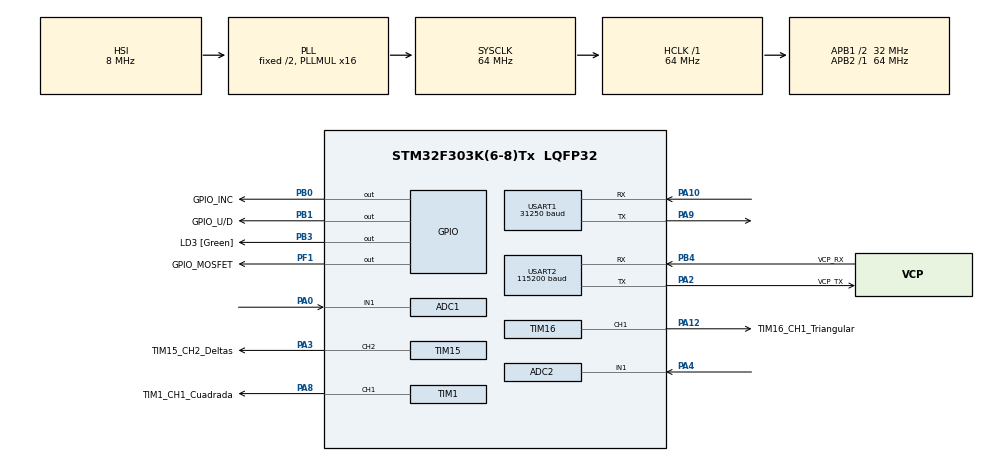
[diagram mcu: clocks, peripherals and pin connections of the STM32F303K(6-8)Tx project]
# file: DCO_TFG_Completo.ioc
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ADC1.Channel-0\#ChannelRegularConversion=ADC_CHANNEL_1
ADC1.NbrOfConversionFlag=1
ADC1.Offset-0\#ChannelRegularConversion=0
ADC1.OffsetNumber-0\#ChannelRegularConversion=ADC_OFFSET_NONE
ADC1.Rank-0\#ChannelRegularConversion=1
ADC1.SamplingTime-0\#ChannelRegularConversion=ADC_SAMPLETIME_1CYCLE_5
ADC1.SubFamily=STM32F303x8
ADC1.master=1
ADC2.Channel-0\#ChannelRegularConversion=ADC_CHANNEL_1
ADC2.NbrOfConversionFlag=1
ADC2.Offset-0\#ChannelRegularConversion=0
ADC2.OffsetNumber-0\#ChannelRegularConversion=ADC_OFFSET_NONE
ADC2.Rank-0\#ChannelRegularConversion=1
ADC2.SamplingTime-0\#ChannelRegularConversion=ADC_SAMPLETIME_1CYCLE_5
ADC2.SubFamily=STM32F303x8
Mcu.Family=STM32F3
Mcu.Name=STM32F303K(6-8)Tx
Mcu.Package=LQFP32
NVIC.PriorityGroup=NVIC_PRIORITYGROUP_4
NVIC.TIM6_DAC1_IRQn=true\:0\:0\:false\:false\:true\:true
NVIC.TIM7_DAC2_IRQn=true\:0\:0\:false\:false\:true\:true
NVIC.USART1_IRQn=true\:0\:0\:false\:false\:true\:true
NVIC.USART2_IRQn=true\:0\:0\:false\:false\:true\:true
PA0.Mode=IN1-Single-Ended
PA0.Signal=ADC1_IN1
PA10.Mode=Asynchronous
PA10.Signal=USART1_RX
PA12.GPIO_Label=TIM16_CH1_Triangular
PA12.Signal=S_TIM16_CH1
PA13.GPIO_Label=SWDIO
PA13.Mode=Serial_Wire
PA13.Signal=SYS_JTMS-SWDIO
PA14.GPIO_Label=SWCLK
PA14.Mode=Serial_Wire
PA14.Signal=SYS_JTCK-SWCLK
PA2.GPIO_Label=VCP_TX
PA2.Mode=Asynchronous
PA2.Signal=USART2_TX
PA3.GPIO_Label=TIM15_CH2_Deltas
PA3.Signal=S_TIM15_CH2
PA4.Mode=IN1-Single-Ended
PA4.Signal=ADC2_IN1
PA8.GPIO_Label=TIM1_CH1_Cuadrada
PA8.Signal=S_TIM1_CH1
PA9.Mode=Asynchronous
PA9.Signal=USART1_TX
PB0.GPIO_Label=GPIO_INC
PB0.PinState=GPIO_PIN_SET
PB0.Signal=GPIO_Output
PB1.GPIO_Label=GPIO_U/D
PB1.Signal=GPIO_Output
PB3.GPIO_Label=LD3 [Green]
PB3.Signal=GPIO_Output
PB4.GPIO_Label=VCP_RX
PB4.Mode=Asynchronous
PB4.Signal=USART2_RX
PF0\ /\ OSC_IN.GPIO_Label=MCO
PF0\ /\ OSC_IN.Mode=HSE-External-Clock-Source
PF0\ /\ OSC_IN.Signal=RCC_OSC_IN
PF1\ /\ OSC_OUT.GPIO_Label=GPIO_MOSFET
PF1\ /\ OSC_OUT.PinState=GPIO_PIN_SET
PF1\ /\ OSC_OUT.Signal=GPIO_Output
ProjectManager.HeapSize=0x200
ProjectManager.StackSize=0x400
ProjectManager.TargetToolchain=TrueSTUDIO
RCC.AHBFreq_Value=64000000
RCC.APB1CLKDivider=RCC_HCLK_DIV2
RCC.APB1Freq_Value=32000000
RCC.APB1TimFreq_Value=64000000
RCC.APB2Freq_Value=64000000
RCC.APB2TimFreq_Value=64000000
RCC.CortexFreq_Value=64000000
RCC.HCLKFreq_Value=64000000
RCC.HSE_VALUE=8000000
RCC.HSI_VALUE=8000000
RCC.PLLMUL=RCC_PLL_MUL16
RCC.SYSCLKFreq_VALUE=64000000
RCC.SYSCLKSourceVirtual=RCC_SYSCLKSOURCE_PLLCLK
SH.S_TIM15_CH2.0=TIM15_CH2,PWM Generation2 CH2
SH.S_TIM16_CH1.0=TIM16_CH1,PWM Generation1 CH1
SH.S_TIM1_CH1.0=TIM1_CH1,PWM Generation1 CH1
TIM1.Channel-PWM\ Generation1\ CH1=TIM_CHANNEL_1
TIM1.Period=7272
TIM1.Prescaler=319
TIM1.Pulse-PWM\ Generation1\ CH1=4000
TIM15.Channel-PWM\ Generation2\ CH2=TIM_CHANNEL_2
TIM15.Period=7272
TIM15.Prescaler=319
TIM15.Pulse-PWM\ Generation2\ CH2=4000
TIM16.Channel=TIM_CHANNEL_1
TIM16.Period=7272
TIM16.Prescaler=319
TIM16.Pulse=4000
TIM6.Period=9
TIM6.Prescaler=31
TIM7.Period=49
TIM7.Prescaler=31999
USART1.BaudRate=31250
USART1.VirtualMode-Asynchronous=VM_ASYNC
USART2.BaudRate=115200
USART2.VirtualMode-Asynchronous=VM_ASYNC
VP_TIM16_VS_ClockSourceINT.Mode=Enable_Timer
VP_TIM6_VS_ClockSourceINT.Mode=Enable_Timer
VP_TIM7_VS_ClockSourceINT.Mode=Enable_Timer
board=NUCLEO-F303K8

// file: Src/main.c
/* USER CODE BEGIN Header */
/**
  ******************************************************************************
  * @file           : main.c
  * @brief          : Main program body
  ******************************************************************************
  ** This notice applies to any and all portions of this file
  * that are not between comment pairs USER CODE BEGIN and
  * USER CODE END. Other portions of this file, whether
  * inserted by the user or by software development tools
  * are owned by their respective copyright owners.
  *
  * COPYRIGHT(c) 2019 STMicroelectronics
  *
  * Redistribution and use in source and binary forms, with or without modification,
  * are permitted provided that the following conditions are met:
  *   1. Redistributions of source code must retain the above copyright notice,
  *      this list of conditions and the following disclaimer.
  *   2. Redistributions in binary form must reproduce the above copyright notice,
  *      this list of conditions and the following disclaimer in the documentation
  *      and/or other materials provided with the distribution.
  *   3. Neither the name of STMicroelectronics nor the names of its contributors
  *      may be used to endorse or promote products derived from this software
  *      without specific prior written permission.
  *
  * THIS SOFTWARE IS PROVIDED BY THE COPYRIGHT HOLDERS AND CONTRIBUTORS "AS IS"
  * AND ANY EXPRESS OR IMPLIED WARRANTIES, INCLUDING, BUT NOT LIMITED TO, THE
  * IMPLIED WARRANTIES OF MERCHANTABILITY AND FITNESS FOR A PARTICULAR PURPOSE ARE
  * DISCLAIMED. IN NO EVENT SHALL THE COPYRIGHT HOLDER OR CONTRIBUTORS BE LIABLE
  * FOR ANY DIRECT, INDIRECT, INCIDENTAL, SPECIAL, EXEMPLARY, OR CONSEQUENTIAL
  * DAMAGES (INCLUDING, BUT NOT LIMITED TO, PROCUREMENT OF SUBSTITUTE GOODS OR
  * SERVICES; LOSS OF USE, DATA, OR PROFITS; OR BUSINESS INTERRUPTION) HOWEVER
  * CAUSED AND ON ANY THEORY OF LIABILITY, WHETHER IN CONTRACT, STRICT LIABILITY,
  * OR TORT (INCLUDING NEGLIGENCE OR OTHERWISE) ARISING IN ANY WAY OUT OF THE USE
  * OF THIS SOFTWARE, EVEN IF ADVISED OF THE POSSIBILITY OF SUCH DAMAGE.
  *
  ******************************************************************************
  */
/* USER CODE END Header */

#include "main.h"

/* USER CODE BEGIN Includes */
#include "math.h"
#include "print_UART.h"
/* USER CODE END Includes */

/* USER CODE BEGIN PD */
#define F_CLK 64000000
/* USER CODE END PD */

ADC_HandleTypeDef hadc1;
ADC_HandleTypeDef hadc2;

TIM_HandleTypeDef htim1;
TIM_HandleTypeDef htim6;
TIM_HandleTypeDef htim7;
TIM_HandleTypeDef htim15;
TIM_HandleTypeDef htim16;

UART_HandleTypeDef huart1;
UART_HandleTypeDef huart2;

/* USER CODE BEGIN PV */
static uint16_t timers_notas[89];
static uint8_t resistencias_notas[89];

uint8_t mensaje_MIDI[3];

// Modulacion en DC y freq
uint8_t msg_mod[2];
uint8_t nota_actual = 0;
float intensity_dc = 0;
float intensity_freq = 0;

// Resistencias digitales
uint8_t cuenta = 0;
int steps = 0;
uint8_t done_res = 0;
/* USER CODE END PV */

void SystemClock_Config(void);
static void MX_GPIO_Init(void);
static void MX_USART2_UART_Init(void);
static void MX_ADC1_Init(void);
static void MX_ADC2_Init(void);
static void MX_USART1_UART_Init(void);
static void MX_TIM1_Init(void);
static void MX_TIM15_Init(void);
static void MX_TIM16_Init(void);
static void MX_TIM6_Init(void);
static void MX_TIM7_Init(void);
/* USER CODE BEGIN PFP */
void calculo_notas(void);
void calculo_resistencias(void);
void start_nota(uint8_t nota);
void stop_nota(void);

uint16_t check_ADC(ADC_HandleTypeDef* hadc);

// Resistencias digitales
void init_resistencia();
void resistencia(uint8_t valor);
/* USER CODE END PFP */

int main(void)
{

  /* MCU Configuration--------------------------------------------------------*/

  /* Reset of all peripherals, Initializes the Flash interface and the Systick. */
  HAL_Init();

  /* Configure the system clock */
  SystemClock_Config();

  /* Initialize all configured peripherals */
  MX_GPIO_Init();
  MX_USART2_UART_Init();
  MX_ADC1_Init();
  MX_ADC2_Init();
  MX_USART1_UART_Init();
  MX_TIM1_Init();
  MX_TIM15_Init();
  MX_TIM16_Init();
  MX_TIM6_Init();
  MX_TIM7_Init();
  /* USER CODE BEGIN 2 */
  //HAL_ADCEx_Calibration_Start(&hadc1);
  //HAL_ADCEx_Calibration_Start(&hadc2);

  init_resistencia();

  calculo_notas();
  calculo_resistencias();
  __HAL_UART_ENABLE_IT(&huart1, UART_IT_RXNE);
  __HAL_UART_ENABLE_IT(&huart2, UART_IT_RXNE);

 //	start_nota(30);

  /* USER CODE END 2 */

  /* Infinite loop */
  /* USER CODE BEGIN WHILE */
  while (1)
  {
//	  start_nota(30);
//	  HAL_Delay(2000);
//	  stop_nota();
//	  HAL_Delay(500);
//
//	  start_nota(40);
//	  HAL_Delay(2000);
//	  stop_nota();
//	  HAL_Delay(500);
    /* USER CODE END WHILE */

  }
}

void SystemClock_Config(void)
{
  RCC_OscInitTypeDef RCC_OscInitStruct = {0};
  RCC_ClkInitTypeDef RCC_ClkInitStruct = {0};
  RCC_PeriphCLKInitTypeDef PeriphClkInit = {0};

  /**Initializes the CPU, AHB and APB busses clocks
  */
  RCC_OscInitStruct.OscillatorType = RCC_OSCILLATORTYPE_HSI;
  RCC_OscInitStruct.HSIState = RCC_HSI_ON;
  RCC_OscInitStruct.HSICalibrationValue = RCC_HSICALIBRATION_DEFAULT;
  RCC_OscInitStruct.PLL.PLLState = RCC_PLL_ON;
  RCC_OscInitStruct.PLL.PLLSource = RCC_PLLSOURCE_HSI;
  RCC_OscInitStruct.PLL.PLLMUL = RCC_PLL_MUL16;
  if (HAL_RCC_OscConfig(&RCC_OscInitStruct) != HAL_OK)
  {
    Error_Handler();
  }
  /**Initializes the CPU, AHB and APB busses clocks
  */
  RCC_ClkInitStruct.ClockType = RCC_CLOCKTYPE_HCLK|RCC_CLOCKTYPE_SYSCLK
                              |RCC_CLOCKTYPE_PCLK1|RCC_CLOCKTYPE_PCLK2;
  RCC_ClkInitStruct.SYSCLKSource = RCC_SYSCLKSOURCE_PLLCLK;
  RCC_ClkInitStruct.AHBCLKDivider = RCC_SYSCLK_DIV1;
  RCC_ClkInitStruct.APB1CLKDivider = RCC_HCLK_DIV2;
  RCC_ClkInitStruct.APB2CLKDivider = RCC_HCLK_DIV1;

  if (HAL_RCC_ClockConfig(&RCC_ClkInitStruct, FLASH_LATENCY_2) != HAL_OK)
  {
    Error_Handler();
  }
  PeriphClkInit.PeriphClockSelection = RCC_PERIPHCLK_USART1|RCC_PERIPHCLK_TIM1
                              |RCC_PERIPHCLK_ADC12;
  PeriphClkInit.Usart1ClockSelection = RCC_USART1CLKSOURCE_PCLK1;
  PeriphClkInit.Adc12ClockSelection = RCC_ADC12PLLCLK_DIV1;
  PeriphClkInit.Tim1ClockSelection = RCC_TIM1CLK_HCLK;
  if (HAL_RCCEx_PeriphCLKConfig(&PeriphClkInit) != HAL_OK)
  {
    Error_Handler();
  }
}

static void MX_ADC1_Init(void)
{

  ADC_MultiModeTypeDef multimode = {0};
  ADC_ChannelConfTypeDef sConfig = {0};

  /**Common config
  */
  hadc1.Instance = ADC1;
  hadc1.Init.ClockPrescaler = ADC_CLOCK_ASYNC_DIV1;
  hadc1.Init.Resolution = ADC_RESOLUTION_12B;
  hadc1.Init.ScanConvMode = ADC_SCAN_DISABLE;
  hadc1.Init.ContinuousConvMode = DISABLE;
  hadc1.Init.DiscontinuousConvMode = DISABLE;
  hadc1.Init.ExternalTrigConvEdge = ADC_EXTERNALTRIGCONVEDGE_NONE;
  hadc1.Init.ExternalTrigConv = ADC_SOFTWARE_START;
  hadc1.Init.DataAlign = ADC_DATAALIGN_RIGHT;
  hadc1.Init.NbrOfConversion = 1;
  hadc1.Init.DMAContinuousRequests = DISABLE;
  hadc1.Init.EOCSelection = ADC_EOC_SINGLE_CONV;
  hadc1.Init.LowPowerAutoWait = DISABLE;
  hadc1.Init.Overrun = ADC_OVR_DATA_OVERWRITTEN;
  if (HAL_ADC_Init(&hadc1) != HAL_OK)
  {
    Error_Handler();
  }
  /**Configure the ADC multi-mode
  */
  multimode.Mode = ADC_MODE_INDEPENDENT;
  if (HAL_ADCEx_MultiModeConfigChannel(&hadc1, &multimode) != HAL_OK)
  {
    Error_Handler();
  }
  /**Configure Regular Channel
  */
  sConfig.Channel = ADC_CHANNEL_1;
  sConfig.Rank = ADC_REGULAR_RANK_1;
  sConfig.SingleDiff = ADC_SINGLE_ENDED;
  sConfig.SamplingTime = ADC_SAMPLETIME_1CYCLE_5;
  sConfig.OffsetNumber = ADC_OFFSET_NONE;
  sConfig.Offset = 0;
  if (HAL_ADC_ConfigChannel(&hadc1, &sConfig) != HAL_OK)
  {
    Error_Handler();
  }

}

static void MX_ADC2_Init(void)
{

  ADC_ChannelConfTypeDef sConfig = {0};

  /**Common config
  */
  hadc2.Instance = ADC2;
  hadc2.Init.ClockPrescaler = ADC_CLOCK_ASYNC_DIV1;
  hadc2.Init.Resolution = ADC_RESOLUTION_12B;
  hadc2.Init.ScanConvMode = ADC_SCAN_DISABLE;
  hadc2.Init.ContinuousConvMode = DISABLE;
  hadc2.Init.DiscontinuousConvMode = DISABLE;
  hadc2.Init.ExternalTrigConvEdge = ADC_EXTERNALTRIGCONVEDGE_NONE;
  hadc2.Init.ExternalTrigConv = ADC_SOFTWARE_START;
  hadc2.Init.DataAlign = ADC_DATAALIGN_RIGHT;
  hadc2.Init.NbrOfConversion = 1;
  hadc2.Init.DMAContinuousRequests = DISABLE;
  hadc2.Init.EOCSelection = ADC_EOC_SINGLE_CONV;
  hadc2.Init.LowPowerAutoWait = DISABLE;
  hadc2.Init.Overrun = ADC_OVR_DATA_OVERWRITTEN;
  if (HAL_ADC_Init(&hadc2) != HAL_OK)
  {
    Error_Handler();
  }
  /**Configure Regular Channel
  */
  sConfig.Channel = ADC_CHANNEL_1;
  sConfig.Rank = ADC_REGULAR_RANK_1;
  sConfig.SingleDiff = ADC_SINGLE_ENDED;
  sConfig.SamplingTime = ADC_SAMPLETIME_1CYCLE_5;
  sConfig.OffsetNumber = ADC_OFFSET_NONE;
  sConfig.Offset = 0;
  if (HAL_ADC_ConfigChannel(&hadc2, &sConfig) != HAL_OK)
  {
    Error_Handler();
  }

}

static void MX_TIM1_Init(void)
{

  TIM_MasterConfigTypeDef sMasterConfig = {0};
  TIM_OC_InitTypeDef sConfigOC = {0};
  TIM_BreakDeadTimeConfigTypeDef sBreakDeadTimeConfig = {0};

  htim1.Instance = TIM1;
  htim1.Init.Prescaler = 319;
  htim1.Init.CounterMode = TIM_COUNTERMODE_UP;
  htim1.Init.Period = 7272;
  htim1.Init.ClockDivision = TIM_CLOCKDIVISION_DIV1;
  htim1.Init.RepetitionCounter = 0;
  htim1.Init.AutoReloadPreload = TIM_AUTORELOAD_PRELOAD_DISABLE;
  if (HAL_TIM_PWM_Init(&htim1) != HAL_OK)
  {
    Error_Handler();
  }
  sMasterConfig.MasterOutputTrigger = TIM_TRGO_RESET;
  sMasterConfig.MasterOutputTrigger2 = TIM_TRGO2_RESET;
  sMasterConfig.MasterSlaveMode = TIM_MASTERSLAVEMODE_DISABLE;
  if (HAL_TIMEx_MasterConfigSynchronization(&htim1, &sMasterConfig) != HAL_OK)
  {
    Error_Handler();
  }
  sConfigOC.OCMode = TIM_OCMODE_PWM1;
  sConfigOC.Pulse = 4000;
  sConfigOC.OCPolarity = TIM_OCPOLARITY_HIGH;
  sConfigOC.OCNPolarity = TIM_OCNPOLARITY_HIGH;
  sConfigOC.OCFastMode = TIM_OCFAST_DISABLE;
  sConfigOC.OCIdleState = TIM_OCIDLESTATE_RESET;
  sConfigOC.OCNIdleState = TIM_OCNIDLESTATE_RESET;
  if (HAL_TIM_PWM_ConfigChannel(&htim1, &sConfigOC, TIM_CHANNEL_1) != HAL_OK)
  {
    Error_Handler();
  }
  sBreakDeadTimeConfig.OffStateRunMode = TIM_OSSR_DISABLE;
  sBreakDeadTimeConfig.OffStateIDLEMode = TIM_OSSI_DISABLE;
  sBreakDeadTimeConfig.LockLevel = TIM_LOCKLEVEL_OFF;
  sBreakDeadTimeConfig.DeadTime = 0;
  sBreakDeadTimeConfig.BreakState = TIM_BREAK_DISABLE;
  sBreakDeadTimeConfig.BreakPolarity = TIM_BREAKPOLARITY_HIGH;
  sBreakDeadTimeConfig.BreakFilter = 0;
  sBreakDeadTimeConfig.Break2State = TIM_BREAK2_DISABLE;
  sBreakDeadTimeConfig.Break2Polarity = TIM_BREAK2POLARITY_HIGH;
  sBreakDeadTimeConfig.Break2Filter = 0;
  sBreakDeadTimeConfig.AutomaticOutput = TIM_AUTOMATICOUTPUT_DISABLE;
  if (HAL_TIMEx_ConfigBreakDeadTime(&htim1, &sBreakDeadTimeConfig) != HAL_OK)
  {
    Error_Handler();
  }
  HAL_TIM_MspPostInit(&htim1);

}

static void MX_TIM6_Init(void)
{

  TIM_MasterConfigTypeDef sMasterConfig = {0};

  htim6.Instance = TIM6;
  htim6.Init.Prescaler = 31;
  htim6.Init.CounterMode = TIM_COUNTERMODE_UP;
  htim6.Init.Period = 9;
  htim6.Init.AutoReloadPreload = TIM_AUTORELOAD_PRELOAD_DISABLE;
  if (HAL_TIM_Base_Init(&htim6) != HAL_OK)
  {
    Error_Handler();
  }
  sMasterConfig.MasterOutputTrigger = TIM_TRGO_RESET;
  sMasterConfig.MasterSlaveMode = TIM_MASTERSLAVEMODE_DISABLE;
  if (HAL_TIMEx_MasterConfigSynchronization(&htim6, &sMasterConfig) != HAL_OK)
  {
    Error_Handler();
  }

}

static void MX_TIM7_Init(void)
{

  TIM_MasterConfigTypeDef sMasterConfig = {0};

  htim7.Instance = TIM7;
  htim7.Init.Prescaler = 31999;
  htim7.Init.CounterMode = TIM_COUNTERMODE_UP;
  htim7.Init.Period = 49;
  htim7.Init.AutoReloadPreload = TIM_AUTORELOAD_PRELOAD_DISABLE;
  if (HAL_TIM_Base_Init(&htim7) != HAL_OK)
  {
    Error_Handler();
  }
  sMasterConfig.MasterOutputTrigger = TIM_TRGO_RESET;
  sMasterConfig.MasterSlaveMode = TIM_MASTERSLAVEMODE_DISABLE;
  if (HAL_TIMEx_MasterConfigSynchronization(&htim7, &sMasterConfig) != HAL_OK)
  {
    Error_Handler();
  }

}

static void MX_TIM15_Init(void)
{

  TIM_MasterConfigTypeDef sMasterConfig = {0};
  TIM_OC_InitTypeDef sConfigOC = {0};
  TIM_BreakDeadTimeConfigTypeDef sBreakDeadTimeConfig = {0};

  htim15.Instance = TIM15;
  htim15.Init.Prescaler = 319;
  htim15.Init.CounterMode = TIM_COUNTERMODE_UP;
  htim15.Init.Period = 7272;
  htim15.Init.ClockDivision = TIM_CLOCKDIVISION_DIV1;
  htim15.Init.RepetitionCounter = 0;
  htim15.Init.AutoReloadPreload = TIM_AUTORELOAD_PRELOAD_DISABLE;
  if (HAL_TIM_PWM_Init(&htim15) != HAL_OK)
  {
    Error_Handler();
  }
  sMasterConfig.MasterOutputTrigger = TIM_TRGO_RESET;
  sMasterConfig.MasterSlaveMode = TIM_MASTERSLAVEMODE_DISABLE;
  if (HAL_TIMEx_MasterConfigSynchronization(&htim15, &sMasterConfig) != HAL_OK)
  {
    Error_Handler();
  }
  sConfigOC.OCMode = TIM_OCMODE_PWM1;
  sConfigOC.Pulse = 4000;
  sConfigOC.OCPolarity = TIM_OCPOLARITY_HIGH;
  sConfigOC.OCNPolarity = TIM_OCNPOLARITY_HIGH;
  sConfigOC.OCFastMode = TIM_OCFAST_DISABLE;
  sConfigOC.OCIdleState = TIM_OCIDLESTATE_RESET;
  sConfigOC.OCNIdleState = TIM_OCNIDLESTATE_RESET;
  if (HAL_TIM_PWM_ConfigChannel(&htim15, &sConfigOC, TIM_CHANNEL_2) != HAL_OK)
  {
    Error_Handler();
  }
  sBreakDeadTimeConfig.OffStateRunMode = TIM_OSSR_DISABLE;
  sBreakDeadTimeConfig.OffStateIDLEMode = TIM_OSSI_DISABLE;
  sBreakDeadTimeConfig.LockLevel = TIM_LOCKLEVEL_OFF;
  sBreakDeadTimeConfig.DeadTime = 0;
  sBreakDeadTimeConfig.BreakState = TIM_BREAK_DISABLE;
  sBreakDeadTimeConfig.BreakPolarity = TIM_BREAKPOLARITY_HIGH;
  sBreakDeadTimeConfig.BreakFilter = 0;
  sBreakDeadTimeConfig.AutomaticOutput = TIM_AUTOMATICOUTPUT_DISABLE;
  if (HAL_TIMEx_ConfigBreakDeadTime(&htim15, &sBreakDeadTimeConfig) != HAL_OK)
  {
    Error_Handler();
  }
  HAL_TIM_MspPostInit(&htim15);

}

static void MX_TIM16_Init(void)
{

  TIM_OC_InitTypeDef sConfigOC = {0};
  TIM_BreakDeadTimeConfigTypeDef sBreakDeadTimeConfig = {0};

  htim16.Instance = TIM16;
  htim16.Init.Prescaler = 319;
  htim16.Init.CounterMode = TIM_COUNTERMODE_UP;
  htim16.Init.Period = 7272;
  htim16.Init.ClockDivision = TIM_CLOCKDIVISION_DIV1;
  htim16.Init.RepetitionCounter = 0;
  htim16.Init.AutoReloadPreload = TIM_AUTORELOAD_PRELOAD_DISABLE;
  if (HAL_TIM_Base_Init(&htim16) != HAL_OK)
  {
    Error_Handler();
  }
  if (HAL_TIM_PWM_Init(&htim16) != HAL_OK)
  {
    Error_Handler();
  }
  sConfigOC.OCMode = TIM_OCMODE_PWM1;
  sConfigOC.Pulse = 4000;
  sConfigOC.OCPolarity = TIM_OCPOLARITY_HIGH;
  sConfigOC.OCNPolarity = TIM_OCNPOLARITY_HIGH;
  sConfigOC.OCFastMode = TIM_OCFAST_DISABLE;
  sConfigOC.OCIdleState = TIM_OCIDLESTATE_RESET;
  sConfigOC.OCNIdleState = TIM_OCNIDLESTATE_RESET;
  if (HAL_TIM_PWM_ConfigChannel(&htim16, &sConfigOC, TIM_CHANNEL_1) != HAL_OK)
  {
    Error_Handler();
  }
  sBreakDeadTimeConfig.OffStateRunMode = TIM_OSSR_DISABLE;
  sBreakDeadTimeConfig.OffStateIDLEMode = TIM_OSSI_DISABLE;
  sBreakDeadTimeConfig.LockLevel = TIM_LOCKLEVEL_OFF;
  sBreakDeadTimeConfig.DeadTime = 0;
  sBreakDeadTimeConfig.BreakState = TIM_BREAK_DISABLE;
  sBreakDeadTimeConfig.BreakPolarity = TIM_BREAKPOLARITY_HIGH;
  sBreakDeadTimeConfig.BreakFilter = 0;
  sBreakDeadTimeConfig.AutomaticOutput = TIM_AUTOMATICOUTPUT_DISABLE;
  if (HAL_TIMEx_ConfigBreakDeadTime(&htim16, &sBreakDeadTimeConfig) != HAL_OK)
  {
    Error_Handler();
  }
  HAL_TIM_MspPostInit(&htim16);

}

static void MX_USART1_UART_Init(void)
{

  huart1.Instance = USART1;
  huart1.Init.BaudRate = 31250;
  huart1.Init.WordLength = UART_WORDLENGTH_8B;
  huart1.Init.StopBits = UART_STOPBITS_1;
  huart1.Init.Parity = UART_PARITY_NONE;
  huart1.Init.Mode = UART_MODE_TX_RX;
  huart1.Init.HwFlowCtl = UART_HWCONTROL_NONE;
  huart1.Init.OverSampling = UART_OVERSAMPLING_16;
  huart1.Init.OneBitSampling = UART_ONE_BIT_SAMPLE_DISABLE;
  huart1.AdvancedInit.AdvFeatureInit = UART_ADVFEATURE_NO_INIT;
  if (HAL_UART_Init(&huart1) != HAL_OK)
  {
    Error_Handler();
  }

}

static void MX_USART2_UART_Init(void)
{

  huart2.Instance = USART2;
  huart2.Init.BaudRate = 115200;
  huart2.Init.WordLength = UART_WORDLENGTH_8B;
  huart2.Init.StopBits = UART_STOPBITS_1;
  huart2.Init.Parity = UART_PARITY_NONE;
  huart2.Init.Mode = UART_MODE_TX_RX;
  huart2.Init.HwFlowCtl = UART_HWCONTROL_NONE;
  huart2.Init.OverSampling = UART_OVERSAMPLING_16;
  huart2.Init.OneBitSampling = UART_ONE_BIT_SAMPLE_DISABLE;
  huart2.AdvancedInit.AdvFeatureInit = UART_ADVFEATURE_NO_INIT;
  if (HAL_UART_Init(&huart2) != HAL_OK)
  {
    Error_Handler();
  }

}

static void MX_GPIO_Init(void)
{
  GPIO_InitTypeDef GPIO_InitStruct = {0};

  /* GPIO Ports Clock Enable */
  __HAL_RCC_GPIOF_CLK_ENABLE();
  __HAL_RCC_GPIOA_CLK_ENABLE();
  __HAL_RCC_GPIOB_CLK_ENABLE();

  /*Configure GPIO pin Output Level */
  HAL_GPIO_WritePin(GPIO_MOSFET_GPIO_Port, GPIO_MOSFET_Pin, GPIO_PIN_SET);

  /*Configure GPIO pin Output Level */
  HAL_GPIO_WritePin(GPIO_INC_GPIO_Port, GPIO_INC_Pin, GPIO_PIN_SET);

  /*Configure GPIO pin Output Level */
  HAL_GPIO_WritePin(GPIOB, GPIO_U_D_Pin|LD3_Pin, GPIO_PIN_RESET);

  /*Configure GPIO pin : GPIO_MOSFET_Pin */
  GPIO_InitStruct.Pin = GPIO_MOSFET_Pin;
  GPIO_InitStruct.Mode = GPIO_MODE_OUTPUT_PP;
  GPIO_InitStruct.Pull = GPIO_NOPULL;
  GPIO_InitStruct.Speed = GPIO_SPEED_FREQ_LOW;
  HAL_GPIO_Init(GPIO_MOSFET_GPIO_Port, &GPIO_InitStruct);

  /*Configure GPIO pins : GPIO_INC_Pin GPIO_U_D_Pin LD3_Pin */
  GPIO_InitStruct.Pin = GPIO_INC_Pin|GPIO_U_D_Pin|LD3_Pin;
  GPIO_InitStruct.Mode = GPIO_MODE_OUTPUT_PP;
  GPIO_InitStruct.Pull = GPIO_NOPULL;
  GPIO_InitStruct.Speed = GPIO_SPEED_FREQ_LOW;
  HAL_GPIO_Init(GPIOB, &GPIO_InitStruct);

}

/* USER CODE BEGIN 4 */
void calculo_notas(void){
	for (uint8_t i=1;i<89;i++){
		float f_nota = 27.50 * pow(1.059463094, i-1);
		timers_notas[i] = round(F_CLK/320/f_nota);
	}
}

void calculo_resistencias(void){
	for (uint8_t i=0;i<6;i++){
		resistencias_notas[i] = 100;
	}

	for (uint8_t i=6; i<89;i++){
		double arg1 = 6-i;
		double arg2 = arg1/17;
		double d_resist = 100*exp(arg2);
		resistencias_notas[i] = round(d_resist);
	}
}

// Crea la PWM correspondiente a la nota
void start_nota(uint8_t nota){
	nota_actual = nota;

	HAL_GPIO_WritePin(GPIOF, GPIO_PIN_1, 0); // Cortamos el MOSFET para que el offset sea Voff, se resta el offset a la salida

	__HAL_TIM_SET_AUTORELOAD(&htim1, timers_notas[nota]-1); // Ajustamos el timer adecuado
	__HAL_TIM_SET_COMPARE(&htim1, TIM_CHANNEL_1, htim1.Init.Period - (timers_notas[nota]-1)/2); //Ajustamos el duty cycle a 1/2, se controlará externamente con un ADC
	HAL_TIM_PWM_Start(&htim1, TIM_CHANNEL_1);
	resistencia(resistencias_notas[nota]);

	HAL_TIM_PWM_Stop(&htim15, TIM_CHANNEL_2);
	__HAL_TIM_SET_AUTORELOAD(&htim15, timers_notas[nota]-1); // Ajustamos el timer adecuado
	__HAL_TIM_SET_COMPARE(&htim15, TIM_CHANNEL_2, (timers_notas[nota]-1)/20); //Ajustamos el duty cycle a 1/20 (5%)
	HAL_TIM_PWM_Start(&htim15, TIM_CHANNEL_2);

	HAL_TIM_Base_Start_IT(&htim7); // Arrancamos timer del modulador
}

void stop_nota(void) {
	HAL_GPIO_WritePin(GPIOF, GPIO_PIN_1, 1); // Activamos el MOSFET para que el offset sea 0V, la salida sale a 0V
	HAL_TIM_PWM_Stop(&htim1, TIM_CHANNEL_1);
	HAL_TIM_PWM_Stop(&htim15, TIM_CHANNEL_2);
	HAL_TIM_Base_Stop_IT(&htim7); // Paramos timer del modulador

}

void init_resistencia(){
	steps = 200;
	HAL_GPIO_WritePin(GPIOB,GPIO_PIN_1, 0);
	HAL_TIM_Base_Start_IT(&htim6);
}

void resistencia(uint8_t valor){
	static int resist = 0;
	steps = 2*(valor - resist);

	if (steps < 0){
		HAL_GPIO_WritePin(GPIOB,GPIO_PIN_1, 0);
		steps = -steps;
	}
	else {
		HAL_GPIO_WritePin(GPIOB,GPIO_PIN_1, 1);
	}
	done_res = 0;	// Se pone el flag a 0
	HAL_TIM_Base_Start_IT(&htim6);

	resist = valor;
//	while (done_res == 0){ // Cuando done es 1, la resistencia está lista y podemos salir
//		HAL_Delay(1);	// Sin este delay se atora
//	}

}

// Atencion a la interrupción de la UART1, cuando se recibe un mensaje MIDI salta la interrupcion
void HAL_UART_RxCpltCallback(UART_HandleTypeDef *huart) {

	// Trasmitimos los bytes recibidos por la UART2, por pantalla
//	for(uint8_t i=0;i<sizeof(mensaje_MIDI);i++){
//		tx_UART_byte(&huart2, mensaje_MIDI[i], 10);
//	}
	// Analizamos el primer byte recibido. Si empieza por 1001, start nota
	if (huart == &huart1){
		uint8_t nota = mensaje_MIDI[1]-20; // Obtenemos la nota MIDI, le restamos 20 para que coincida con nuestro teclado
		static uint8_t nota_actual;
		if ((mensaje_MIDI[0]>>4) == 0b1001){
			nota_actual = nota;
//			tx_UART_byte(&huart2, mensaje_MIDI[2], 10);
			start_nota(nota);
		}
		else {	// Si no empieza por 1001, es un stop nota
			if (nota_actual == nota) {	// Se suelta otra tecla que no es la que está sonando no se para
			stop_nota();
			}
		}
		__HAL_UART_ENABLE_IT(&huart1, UART_IT_RXNE); // Volvemos a activar las interrupciones de la UART1
	}

	if (huart == &huart2) {
		intensity_freq = msg_mod[0];
		intensity_dc = msg_mod[1];
		HAL_GPIO_TogglePin(GPIOB, GPIO_PIN_3);
		__HAL_UART_ENABLE_IT(&huart2, UART_IT_RXNE);
	}
}

void HAL_TIM_PeriodElapsedCallback(TIM_HandleTypeDef *htim){
	if(htim==&htim7){

		float data_adc_dc = check_ADC(&hadc1);
		float data_adc_freq = check_ADC(&hadc2);
		float periodo_mod = (timers_notas[nota_actual]-1)*(1 - (intensity_freq/500)*(data_adc_freq-2048)/2048);
		float duty_cycle_mod = periodo_mod*(0.5 + (intensity_dc/100)*(data_adc_dc-2048)/4095);

		__HAL_TIM_SET_AUTORELOAD(&htim1, periodo_mod); 					// Periodo de la señal cuadrada
		__HAL_TIM_SET_COMPARE(&htim1, TIM_CHANNEL_1, duty_cycle_mod);   // Duty cycle de la señal cuadrada

		__HAL_TIM_SET_AUTORELOAD(&htim15, periodo_mod); 					// Periodo del tren de deltas
		__HAL_TIM_SET_COMPARE(&htim15, TIM_CHANNEL_2, periodo_mod/20);	// Duty cycle del tren de deltas (siempre 1/20)
	}

	if (htim == &htim6){
			HAL_GPIO_TogglePin(GPIOB, GPIO_PIN_0);
			cuenta++;
			if (cuenta >= steps){
				cuenta = 0;
				done_res = 1; // Done a 1 indica que la R esta lista
				HAL_TIM_Base_Stop_IT(&htim6);

			}
		}
}

uint16_t check_ADC(ADC_HandleTypeDef* hadc){
	HAL_ADC_Start(hadc);
	HAL_ADC_PollForConversion(hadc, 1000);
	uint16_t data_adc = HAL_ADC_GetValue(hadc);
	HAL_ADC_Stop(hadc);
	return data_adc;
}
/* USER CODE END 4 */

void Error_Handler(void)
{
}

/************************ (C) COPYRIGHT STMicroelectronics *****END OF FILE****/
